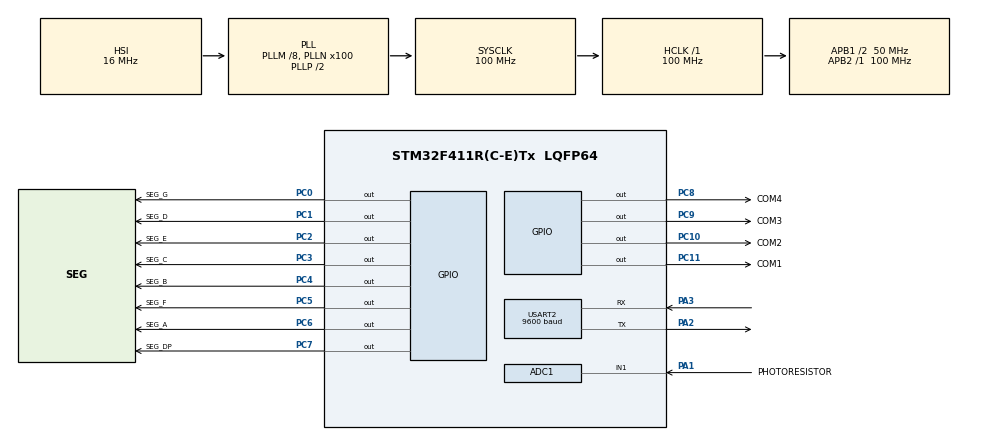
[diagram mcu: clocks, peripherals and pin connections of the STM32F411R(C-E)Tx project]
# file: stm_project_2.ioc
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ADC1.Channel-0\#ChannelRegularConversion=ADC_CHANNEL_1
ADC1.ContinuousConvMode=ENABLE
ADC1.NbrOfConversionFlag=1
ADC1.Rank-0\#ChannelRegularConversion=1
ADC1.SamplingTime-0\#ChannelRegularConversion=ADC_SAMPLETIME_3CYCLES
ADC1.master=1
Dma.Request0=USART2_TX
Dma.Request1=USART2_RX
Dma.USART2_RX.1.Direction=DMA_PERIPH_TO_MEMORY
Dma.USART2_RX.1.FIFOMode=DMA_FIFOMODE_DISABLE
Dma.USART2_RX.1.Instance=DMA1_Stream5
Dma.USART2_RX.1.MemDataAlignment=DMA_MDATAALIGN_BYTE
Dma.USART2_RX.1.MemInc=DMA_MINC_ENABLE
Dma.USART2_RX.1.Mode=DMA_NORMAL
Dma.USART2_RX.1.PeriphDataAlignment=DMA_PDATAALIGN_BYTE
Dma.USART2_RX.1.PeriphInc=DMA_PINC_DISABLE
Dma.USART2_RX.1.Priority=DMA_PRIORITY_LOW
Dma.USART2_TX.0.Direction=DMA_MEMORY_TO_PERIPH
Dma.USART2_TX.0.FIFOMode=DMA_FIFOMODE_DISABLE
Dma.USART2_TX.0.Instance=DMA1_Stream6
Dma.USART2_TX.0.MemDataAlignment=DMA_MDATAALIGN_BYTE
Dma.USART2_TX.0.MemInc=DMA_MINC_ENABLE
Dma.USART2_TX.0.Mode=DMA_NORMAL
Dma.USART2_TX.0.PeriphDataAlignment=DMA_PDATAALIGN_BYTE
Dma.USART2_TX.0.PeriphInc=DMA_PINC_DISABLE
Dma.USART2_TX.0.Priority=DMA_PRIORITY_LOW
Mcu.Family=STM32F4
Mcu.Name=STM32F411R(C-E)Tx
Mcu.Package=LQFP64
NVIC.ADC_IRQn=true\:0\:0\:false\:false\:true\:true\:true
NVIC.DMA1_Stream5_IRQn=true\:0\:0\:false\:false\:true\:false\:true
NVIC.DMA1_Stream6_IRQn=true\:0\:0\:false\:false\:true\:false\:true
NVIC.PriorityGroup=NVIC_PRIORITYGROUP_4
NVIC.TIM1_BRK_TIM9_IRQn=true\:0\:0\:false\:false\:true\:true\:true
NVIC.USART2_IRQn=true\:0\:0\:false\:false\:true\:true\:true
PA1.GPIO_Label=PHOTORESISTOR
PA1.Signal=ADCx_IN1
PA2.Mode=Asynchronous
PA2.Signal=USART2_TX
PA3.Mode=Asynchronous
PA3.Signal=USART2_RX
PC0.GPIO_Label=SEG_G
PC0.Signal=GPIO_Output
PC1.GPIO_Label=SEG_D
PC1.Signal=GPIO_Output
PC10.GPIO_Label=COM2
PC10.PinState=GPIO_PIN_SET
PC10.Signal=GPIO_Output
PC11.GPIO_Label=COM1
PC11.PinState=GPIO_PIN_SET
PC11.Signal=GPIO_Output
PC2.GPIO_Label=SEG_E
PC2.Signal=GPIO_Output
PC3.GPIO_Label=SEG_C
PC3.Signal=GPIO_Output
PC4.GPIO_Label=SEG_B
PC4.Signal=GPIO_Output
PC5.GPIO_Label=SEG_F
PC5.Signal=GPIO_Output
PC6.GPIO_Label=SEG_A
PC6.Signal=GPIO_Output
PC7.GPIO_Label=SEG_DP
PC7.Signal=GPIO_Output
PC8.GPIO_Label=COM4
PC8.PinState=GPIO_PIN_SET
PC8.Signal=GPIO_Output
PC9.GPIO_Label=COM3
PC9.PinState=GPIO_PIN_SET
PC9.Signal=GPIO_Output
ProjectManager.HeapSize=0x200
ProjectManager.StackSize=0x400
ProjectManager.TargetToolchain=STM32CubeIDE
RCC.48MHZClocksFreq_Value=50000000
RCC.AHBFreq_Value=100000000
RCC.APB1CLKDivider=RCC_HCLK_DIV2
RCC.APB1Freq_Value=50000000
RCC.APB1TimFreq_Value=100000000
RCC.APB2Freq_Value=100000000
RCC.APB2TimFreq_Value=100000000
RCC.CortexFreq_Value=100000000
RCC.HCLKFreq_Value=100000000
RCC.HSE_VALUE=25000000
RCC.HSI_VALUE=16000000
RCC.LSE_VALUE=32768
RCC.PLLM=8
RCC.PLLN=100
RCC.SYSCLKFreq_VALUE=100000000
RCC.SYSCLKSource=RCC_SYSCLKSOURCE_PLLCLK
RCC.VCOOutputFreq_Value=200000000
SH.ADCx_IN1.0=ADC1_IN1,IN1
TIM9.Period=1000
TIM9.Prescaler=500
USART2.BaudRate=9600
USART2.OverSampling=UART_OVERSAMPLING_8
USART2.VirtualMode=VM_ASYNC
VP_TIM9_VS_ClockSourceINT.Mode=Internal
board=custom

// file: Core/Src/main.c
/* USER CODE BEGIN Header */
/**
  ******************************************************************************
  * @file           : main.c
  * @brief          : Main program body
  ******************************************************************************
  * @attention
  *
  * <h2><center>&copy; Copyright (c) 2021 STMicroelectronics.
  * All rights reserved.</center></h2>
  *
  * This software component is licensed by ST under BSD 3-Clause license,
  * the "License"; You may not use this file except in compliance with the
  * License. You may obtain a copy of the License at:
  *                        opensource.org/licenses/BSD-3-Clause
  *
  ******************************************************************************
  */
/* USER CODE END Header */
#include "main.h"

ADC_HandleTypeDef hadc1;

TIM_HandleTypeDef htim9;

UART_HandleTypeDef huart2;
DMA_HandleTypeDef hdma_usart2_tx;
DMA_HandleTypeDef hdma_usart2_rx;

void SystemClock_Config(void);
static void MX_GPIO_Init(void);
static void MX_TIM9_Init(void);
static void MX_DMA_Init(void);
static void MX_USART2_UART_Init(void);
static void MX_ADC1_Init(void);
/* USER CODE BEGIN PFP */
#include "string.h"
unsigned int time = 200;
unsigned int com = 1;
unsigned int adc_value = 0;
char uart_TX[10];

void set_digit(int digit);
void set_number(int digit1, int digit2, int digit3, int digit4);
int photoresistor_calc(float cur_val, float min_val, float max_val);

void HAL_ADC_ConvCpltCallback(ADC_HandleTypeDef* hadc) {
	if (hadc->Instance == ADC1){
//		OBSLUGA Z EPSILONEM
		unsigned int adc_value_new = HAL_ADC_GetValue(&hadc1);
		int epsilon = 10;
		int difference = adc_value_new - adc_value;
		if (abs(difference) > epsilon) {
			adc_value = adc_value_new;
		}

//		OBSLUGA BEZ EPSILONA
//		adc_value = HAL_ADC_GetValue(&hadc1);;
	}
}

void HAL_TIM_PeriodElapsedCallback (TIM_HandleTypeDef *htim ) {
 if (htim->Instance == TIM9)
 {
//	 WYSWIETLANIE WARTOSCI FOTOREZYSTORA
//	 HAL_ADC_Start_IT(&hadc1);
//	 set_number(adc_value/1000%10, adc_value/100%10, adc_value/10%10, adc_value%10);

//	 WYSWIETLANIE WARTOSCI FOTOREZYSTORA Z USUWANIEM ZER PRZODUJACYCH
	 HAL_ADC_Start_IT(&hadc1);
	 int percent = photoresistor_calc((float)adc_value, 100, 4000);		// WARTOSCI RZECZYWISTE (Z POMIARU)
//	 int percent = photoresistor_calc((float)adc_value, 700, 3000);		// WARTOSCI TESTOWE
	 unsigned short int digit1 = percent/100%10;
	 unsigned short int digit2 = percent/10%10;
	 unsigned short int digit3 = percent%10;
	 if (percent < 100) digit1 = 10;
	 if (percent < 10) digit2 = 10;
	 set_number(10, digit1, digit2, digit3);

//	 WYSYLANIE WARTOSCI PRZEZ UART CO 1 SEKUNDE
	 if(time == 200){
		 int size = sprintf(uart_TX, "%d\r\n", percent);
		 HAL_UART_Transmit_DMA(&huart2, uart_TX, size);
		 time = 0;
	 }
	 else time++;
 }
}

/* USER CODE END PFP */

int main(void)
{

  /* MCU Configuration--------------------------------------------------------*/

  /* Reset of all peripherals, Initializes the Flash interface and the Systick. */
  HAL_Init();

  /* Configure the system clock */
  SystemClock_Config();

  /* Initialize all configured peripherals */
  MX_GPIO_Init();
  MX_TIM9_Init();
  MX_DMA_Init();
  MX_USART2_UART_Init();
  MX_ADC1_Init();
  /* USER CODE BEGIN 2 */
  HAL_GPIO_WritePin(COM1_GPIO_Port,COM1_Pin,GPIO_PIN_SET);
  HAL_GPIO_WritePin(COM2_GPIO_Port,COM1_Pin,GPIO_PIN_SET);
  HAL_GPIO_WritePin(COM3_GPIO_Port,COM1_Pin,GPIO_PIN_SET);
  HAL_GPIO_WritePin(COM4_GPIO_Port,COM1_Pin,GPIO_PIN_SET);
  HAL_TIM_Base_Start_IT(&htim9);
  /* USER CODE END 2 */

  /* Infinite loop */
  while (1)
  {

  }
}

void SystemClock_Config(void)
{
  RCC_OscInitTypeDef RCC_OscInitStruct = {0};
  RCC_ClkInitTypeDef RCC_ClkInitStruct = {0};

  /** Configure the main internal regulator output voltage
  */
  __HAL_RCC_PWR_CLK_ENABLE();
  __HAL_PWR_VOLTAGESCALING_CONFIG(PWR_REGULATOR_VOLTAGE_SCALE1);
  /** Initializes the RCC Oscillators according to the specified parameters
  * in the RCC_OscInitTypeDef structure.
  */
  RCC_OscInitStruct.OscillatorType = RCC_OSCILLATORTYPE_HSI;
  RCC_OscInitStruct.HSIState = RCC_HSI_ON;
  RCC_OscInitStruct.HSICalibrationValue = RCC_HSICALIBRATION_DEFAULT;
  RCC_OscInitStruct.PLL.PLLState = RCC_PLL_ON;
  RCC_OscInitStruct.PLL.PLLSource = RCC_PLLSOURCE_HSI;
  RCC_OscInitStruct.PLL.PLLM = 8;
  RCC_OscInitStruct.PLL.PLLN = 100;
  RCC_OscInitStruct.PLL.PLLP = RCC_PLLP_DIV2;
  RCC_OscInitStruct.PLL.PLLQ = 4;
  if (HAL_RCC_OscConfig(&RCC_OscInitStruct) != HAL_OK)
  {
    Error_Handler();
  }
  /** Initializes the CPU, AHB and APB buses clocks
  */
  RCC_ClkInitStruct.ClockType = RCC_CLOCKTYPE_HCLK|RCC_CLOCKTYPE_SYSCLK
                              |RCC_CLOCKTYPE_PCLK1|RCC_CLOCKTYPE_PCLK2;
  RCC_ClkInitStruct.SYSCLKSource = RCC_SYSCLKSOURCE_PLLCLK;
  RCC_ClkInitStruct.AHBCLKDivider = RCC_SYSCLK_DIV1;
  RCC_ClkInitStruct.APB1CLKDivider = RCC_HCLK_DIV2;
  RCC_ClkInitStruct.APB2CLKDivider = RCC_HCLK_DIV1;

  if (HAL_RCC_ClockConfig(&RCC_ClkInitStruct, FLASH_LATENCY_3) != HAL_OK)
  {
    Error_Handler();
  }
}

static void MX_ADC1_Init(void)
{

  ADC_ChannelConfTypeDef sConfig = {0};

  /** Configure the global features of the ADC (Clock, Resolution, Data Alignment and number of conversion)
  */
  hadc1.Instance = ADC1;
  hadc1.Init.ClockPrescaler = ADC_CLOCK_SYNC_PCLK_DIV4;
  hadc1.Init.Resolution = ADC_RESOLUTION_12B;
  hadc1.Init.ScanConvMode = DISABLE;
  hadc1.Init.ContinuousConvMode = ENABLE;
  hadc1.Init.DiscontinuousConvMode = DISABLE;
  hadc1.Init.ExternalTrigConvEdge = ADC_EXTERNALTRIGCONVEDGE_NONE;
  hadc1.Init.ExternalTrigConv = ADC_SOFTWARE_START;
  hadc1.Init.DataAlign = ADC_DATAALIGN_RIGHT;
  hadc1.Init.NbrOfConversion = 1;
  hadc1.Init.DMAContinuousRequests = DISABLE;
  hadc1.Init.EOCSelection = ADC_EOC_SINGLE_CONV;
  if (HAL_ADC_Init(&hadc1) != HAL_OK)
  {
    Error_Handler();
  }
  /** Configure for the selected ADC regular channel its corresponding rank in the sequencer and its sample time.
  */
  sConfig.Channel = ADC_CHANNEL_1;
  sConfig.Rank = 1;
  sConfig.SamplingTime = ADC_SAMPLETIME_3CYCLES;
  if (HAL_ADC_ConfigChannel(&hadc1, &sConfig) != HAL_OK)
  {
    Error_Handler();
  }

}

static void MX_TIM9_Init(void)
{

  TIM_ClockConfigTypeDef sClockSourceConfig = {0};

  htim9.Instance = TIM9;
  htim9.Init.Prescaler = 500;
  htim9.Init.CounterMode = TIM_COUNTERMODE_UP;
  htim9.Init.Period = 1000;
  htim9.Init.ClockDivision = TIM_CLOCKDIVISION_DIV1;
  htim9.Init.AutoReloadPreload = TIM_AUTORELOAD_PRELOAD_DISABLE;
  if (HAL_TIM_Base_Init(&htim9) != HAL_OK)
  {
    Error_Handler();
  }
  sClockSourceConfig.ClockSource = TIM_CLOCKSOURCE_INTERNAL;
  if (HAL_TIM_ConfigClockSource(&htim9, &sClockSourceConfig) != HAL_OK)
  {
    Error_Handler();
  }

}

static void MX_USART2_UART_Init(void)
{

  huart2.Instance = USART2;
  huart2.Init.BaudRate = 9600;
  huart2.Init.WordLength = UART_WORDLENGTH_8B;
  huart2.Init.StopBits = UART_STOPBITS_1;
  huart2.Init.Parity = UART_PARITY_NONE;
  huart2.Init.Mode = UART_MODE_TX_RX;
  huart2.Init.HwFlowCtl = UART_HWCONTROL_NONE;
  huart2.Init.OverSampling = UART_OVERSAMPLING_8;
  if (HAL_UART_Init(&huart2) != HAL_OK)
  {
    Error_Handler();
  }

}

static void MX_DMA_Init(void)
{

  /* DMA controller clock enable */
  __HAL_RCC_DMA1_CLK_ENABLE();

  /* DMA interrupt init */
  /* DMA1_Stream5_IRQn interrupt configuration */
  HAL_NVIC_SetPriority(DMA1_Stream5_IRQn, 0, 0);
  HAL_NVIC_EnableIRQ(DMA1_Stream5_IRQn);
  /* DMA1_Stream6_IRQn interrupt configuration */
  HAL_NVIC_SetPriority(DMA1_Stream6_IRQn, 0, 0);
  HAL_NVIC_EnableIRQ(DMA1_Stream6_IRQn);

}

static void MX_GPIO_Init(void)
{
  GPIO_InitTypeDef GPIO_InitStruct = {0};

  /* GPIO Ports Clock Enable */
  __HAL_RCC_GPIOC_CLK_ENABLE();
  __HAL_RCC_GPIOA_CLK_ENABLE();

  /*Configure GPIO pin Output Level */
  HAL_GPIO_WritePin(GPIOC, SEG_G_Pin|SEG_D_Pin|SEG_E_Pin|SEG_C_Pin
                          |SEG_B_Pin|SEG_F_Pin|SEG_A_Pin|SEG_DP_Pin, GPIO_PIN_RESET);

  /*Configure GPIO pin Output Level */
  HAL_GPIO_WritePin(GPIOC, COM4_Pin|COM3_Pin|COM2_Pin|COM1_Pin, GPIO_PIN_SET);

  /*Configure GPIO pins : SEG_G_Pin SEG_D_Pin SEG_E_Pin SEG_C_Pin
                           SEG_B_Pin SEG_F_Pin SEG_A_Pin SEG_DP_Pin
                           COM4_Pin COM3_Pin COM2_Pin COM1_Pin */
  GPIO_InitStruct.Pin = SEG_G_Pin|SEG_D_Pin|SEG_E_Pin|SEG_C_Pin
                          |SEG_B_Pin|SEG_F_Pin|SEG_A_Pin|SEG_DP_Pin
                          |COM4_Pin|COM3_Pin|COM2_Pin|COM1_Pin;
  GPIO_InitStruct.Mode = GPIO_MODE_OUTPUT_PP;
  GPIO_InitStruct.Pull = GPIO_NOPULL;
  GPIO_InitStruct.Speed = GPIO_SPEED_FREQ_LOW;
  HAL_GPIO_Init(GPIOC, &GPIO_InitStruct);

}

/* USER CODE BEGIN 4 */

void set_digit(int digit) {
	// Jesli podana "cyfra" nie jest cyfra to znaczy to, ze znak powinien być pusty
	switch (digit)
	{
		case 0:
		HAL_GPIO_WritePin(SEG_A_GPIO_Port, SEG_A_Pin, GPIO_PIN_SET);
		HAL_GPIO_WritePin(SEG_B_GPIO_Port, SEG_B_Pin, GPIO_PIN_SET);
		HAL_GPIO_WritePin(SEG_C_GPIO_Port, SEG_C_Pin, GPIO_PIN_SET);
		HAL_GPIO_WritePin(SEG_D_GPIO_Port, SEG_D_Pin, GPIO_PIN_SET);
		HAL_GPIO_WritePin(SEG_E_GPIO_Port, SEG_E_Pin, GPIO_PIN_SET);
		HAL_GPIO_WritePin(SEG_F_GPIO_Port, SEG_F_Pin, GPIO_PIN_SET);
		HAL_GPIO_WritePin(SEG_G_GPIO_Port, SEG_G_Pin, GPIO_PIN_RESET);
		HAL_GPIO_WritePin(SEG_DP_GPIO_Port, SEG_DP_Pin, GPIO_PIN_RESET);
		break;

		case 1:
		HAL_GPIO_WritePin(SEG_A_GPIO_Port, SEG_A_Pin, GPIO_PIN_RESET);
		HAL_GPIO_WritePin(SEG_B_GPIO_Port, SEG_B_Pin, GPIO_PIN_SET);
		HAL_GPIO_WritePin(SEG_C_GPIO_Port, SEG_C_Pin, GPIO_PIN_SET);
		HAL_GPIO_WritePin(SEG_D_GPIO_Port, SEG_D_Pin, GPIO_PIN_RESET);
		HAL_GPIO_WritePin(SEG_E_GPIO_Port, SEG_E_Pin, GPIO_PIN_RESET);
		HAL_GPIO_WritePin(SEG_F_GPIO_Port, SEG_F_Pin, GPIO_PIN_RESET);
		HAL_GPIO_WritePin(SEG_G_GPIO_Port, SEG_G_Pin, GPIO_PIN_RESET);
		HAL_GPIO_WritePin(SEG_DP_GPIO_Port, SEG_DP_Pin, GPIO_PIN_RESET);
		break;

		case 2:
		HAL_GPIO_WritePin(SEG_A_GPIO_Port, SEG_A_Pin, GPIO_PIN_SET);
		HAL_GPIO_WritePin(SEG_B_GPIO_Port, SEG_B_Pin, GPIO_PIN_SET);
		HAL_GPIO_WritePin(SEG_C_GPIO_Port, SEG_C_Pin, GPIO_PIN_RESET);
		HAL_GPIO_WritePin(SEG_D_GPIO_Port, SEG_D_Pin, GPIO_PIN_SET);
		HAL_GPIO_WritePin(SEG_E_GPIO_Port, SEG_E_Pin, GPIO_PIN_SET);
		HAL_GPIO_WritePin(SEG_F_GPIO_Port, SEG_F_Pin, GPIO_PIN_RESET);
		HAL_GPIO_WritePin(SEG_G_GPIO_Port, SEG_G_Pin, GPIO_PIN_SET);
		HAL_GPIO_WritePin(SEG_DP_GPIO_Port, SEG_DP_Pin, GPIO_PIN_RESET);
		break;

		case 3:
		HAL_GPIO_WritePin(SEG_A_GPIO_Port, SEG_A_Pin, GPIO_PIN_SET);
		HAL_GPIO_WritePin(SEG_B_GPIO_Port, SEG_B_Pin, GPIO_PIN_SET);
		HAL_GPIO_WritePin(SEG_C_GPIO_Port, SEG_C_Pin, GPIO_PIN_SET);
		HAL_GPIO_WritePin(SEG_D_GPIO_Port, SEG_D_Pin, GPIO_PIN_SET);
		HAL_GPIO_WritePin(SEG_E_GPIO_Port, SEG_E_Pin, GPIO_PIN_RESET);
		HAL_GPIO_WritePin(SEG_F_GPIO_Port, SEG_F_Pin, GPIO_PIN_RESET);
		HAL_GPIO_WritePin(SEG_G_GPIO_Port, SEG_G_Pin, GPIO_PIN_SET);
		HAL_GPIO_WritePin(SEG_DP_GPIO_Port, SEG_DP_Pin, GPIO_PIN_RESET);
		break;

		case 4:
		HAL_GPIO_WritePin(SEG_A_GPIO_Port, SEG_A_Pin, GPIO_PIN_RESET);
		HAL_GPIO_WritePin(SEG_B_GPIO_Port, SEG_B_Pin, GPIO_PIN_SET);
		HAL_GPIO_WritePin(SEG_C_GPIO_Port, SEG_C_Pin, GPIO_PIN_SET);
		HAL_GPIO_WritePin(SEG_D_GPIO_Port, SEG_D_Pin, GPIO_PIN_RESET);
		HAL_GPIO_WritePin(SEG_E_GPIO_Port, SEG_E_Pin, GPIO_PIN_RESET);
		HAL_GPIO_WritePin(SEG_F_GPIO_Port, SEG_F_Pin, GPIO_PIN_SET);
		HAL_GPIO_WritePin(SEG_G_GPIO_Port, SEG_G_Pin, GPIO_PIN_SET);
		HAL_GPIO_WritePin(SEG_DP_GPIO_Port, SEG_DP_Pin, GPIO_PIN_RESET);
		break;

		case 5:
		HAL_GPIO_WritePin(SEG_A_GPIO_Port, SEG_A_Pin, GPIO_PIN_SET);
		HAL_GPIO_WritePin(SEG_B_GPIO_Port, SEG_B_Pin, GPIO_PIN_RESET);
		HAL_GPIO_WritePin(SEG_C_GPIO_Port, SEG_C_Pin, GPIO_PIN_SET);
		HAL_GPIO_WritePin(SEG_D_GPIO_Port, SEG_D_Pin, GPIO_PIN_SET);
		HAL_GPIO_WritePin(SEG_E_GPIO_Port, SEG_E_Pin, GPIO_PIN_RESET);
		HAL_GPIO_WritePin(SEG_F_GPIO_Port, SEG_F_Pin, GPIO_PIN_SET);
		HAL_GPIO_WritePin(SEG_G_GPIO_Port, SEG_G_Pin, GPIO_PIN_SET);
		HAL_GPIO_WritePin(SEG_DP_GPIO_Port, SEG_DP_Pin, GPIO_PIN_RESET);
		break;

		case 6:
		HAL_GPIO_WritePin(SEG_A_GPIO_Port, SEG_A_Pin, GPIO_PIN_SET);
		HAL_GPIO_WritePin(SEG_B_GPIO_Port, SEG_B_Pin, GPIO_PIN_RESET);
		HAL_GPIO_WritePin(SEG_C_GPIO_Port, SEG_C_Pin, GPIO_PIN_SET);
		HAL_GPIO_WritePin(SEG_D_GPIO_Port, SEG_D_Pin, GPIO_PIN_SET);
		HAL_GPIO_WritePin(SEG_E_GPIO_Port, SEG_E_Pin, GPIO_PIN_SET);
		HAL_GPIO_WritePin(SEG_F_GPIO_Port, SEG_F_Pin, GPIO_PIN_SET);
		HAL_GPIO_WritePin(SEG_G_GPIO_Port, SEG_G_Pin, GPIO_PIN_SET);
		HAL_GPIO_WritePin(SEG_DP_GPIO_Port, SEG_DP_Pin, GPIO_PIN_RESET);
		break;

		case 7:
		HAL_GPIO_WritePin(SEG_A_GPIO_Port, SEG_A_Pin, GPIO_PIN_SET);
		HAL_GPIO_WritePin(SEG_B_GPIO_Port, SEG_B_Pin, GPIO_PIN_SET);
		HAL_GPIO_WritePin(SEG_C_GPIO_Port, SEG_C_Pin, GPIO_PIN_SET);
		HAL_GPIO_WritePin(SEG_D_GPIO_Port, SEG_D_Pin, GPIO_PIN_RESET);
		HAL_GPIO_WritePin(SEG_E_GPIO_Port, SEG_E_Pin, GPIO_PIN_RESET);
		HAL_GPIO_WritePin(SEG_F_GPIO_Port, SEG_F_Pin, GPIO_PIN_RESET);
		HAL_GPIO_WritePin(SEG_G_GPIO_Port, SEG_G_Pin, GPIO_PIN_RESET);
		HAL_GPIO_WritePin(SEG_DP_GPIO_Port, SEG_DP_Pin, GPIO_PIN_RESET);
		break;

		case 8:
		HAL_GPIO_WritePin(SEG_A_GPIO_Port, SEG_A_Pin, GPIO_PIN_SET);
		HAL_GPIO_WritePin(SEG_B_GPIO_Port, SEG_B_Pin, GPIO_PIN_SET);
		HAL_GPIO_WritePin(SEG_C_GPIO_Port, SEG_C_Pin, GPIO_PIN_SET);
		HAL_GPIO_WritePin(SEG_D_GPIO_Port, SEG_D_Pin, GPIO_PIN_SET);
		HAL_GPIO_WritePin(SEG_E_GPIO_Port, SEG_E_Pin, GPIO_PIN_SET);
		HAL_GPIO_WritePin(SEG_F_GPIO_Port, SEG_F_Pin, GPIO_PIN_SET);
		HAL_GPIO_WritePin(SEG_G_GPIO_Port, SEG_G_Pin, GPIO_PIN_SET);
		HAL_GPIO_WritePin(SEG_DP_GPIO_Port, SEG_DP_Pin, GPIO_PIN_RESET);
		break;

		case 9:
		HAL_GPIO_WritePin(SEG_A_GPIO_Port, SEG_A_Pin, GPIO_PIN_SET);
		HAL_GPIO_WritePin(SEG_B_GPIO_Port, SEG_B_Pin, GPIO_PIN_SET);
		HAL_GPIO_WritePin(SEG_C_GPIO_Port, SEG_C_Pin, GPIO_PIN_SET);
		HAL_GPIO_WritePin(SEG_D_GPIO_Port, SEG_D_Pin, GPIO_PIN_SET);
		HAL_GPIO_WritePin(SEG_E_GPIO_Port, SEG_E_Pin, GPIO_PIN_RESET);
		HAL_GPIO_WritePin(SEG_F_GPIO_Port, SEG_F_Pin, GPIO_PIN_SET);
		HAL_GPIO_WritePin(SEG_G_GPIO_Port, SEG_G_Pin, GPIO_PIN_SET);
		HAL_GPIO_WritePin(SEG_DP_GPIO_Port, SEG_DP_Pin, GPIO_PIN_RESET);
		break;

		default:
		HAL_GPIO_WritePin(SEG_A_GPIO_Port, SEG_A_Pin, GPIO_PIN_RESET);
		HAL_GPIO_WritePin(SEG_B_GPIO_Port, SEG_B_Pin, GPIO_PIN_RESET);
		HAL_GPIO_WritePin(SEG_C_GPIO_Port, SEG_C_Pin, GPIO_PIN_RESET);
		HAL_GPIO_WritePin(SEG_D_GPIO_Port, SEG_D_Pin, GPIO_PIN_RESET);
		HAL_GPIO_WritePin(SEG_E_GPIO_Port, SEG_E_Pin, GPIO_PIN_RESET);
		HAL_GPIO_WritePin(SEG_F_GPIO_Port, SEG_F_Pin, GPIO_PIN_RESET);
		HAL_GPIO_WritePin(SEG_G_GPIO_Port, SEG_G_Pin, GPIO_PIN_RESET);
		HAL_GPIO_WritePin(SEG_DP_GPIO_Port, SEG_DP_Pin, GPIO_PIN_RESET);
		break;
	}
}

void set_number(int digit1, int digit2, int digit3, int digit4) {
	switch(com){
		case 1:
		// Wyswietlacz 1
		HAL_GPIO_WritePin(COM4_GPIO_Port,COM4_Pin,GPIO_PIN_SET);
		HAL_GPIO_WritePin(COM1_GPIO_Port,COM1_Pin,GPIO_PIN_RESET);
		set_digit(digit1);
		com = 2;
		break;

		case 2:
		// Wyswietlacz 2
		HAL_GPIO_WritePin(COM1_GPIO_Port,COM1_Pin,GPIO_PIN_SET);
		HAL_GPIO_WritePin(COM2_GPIO_Port,COM2_Pin,GPIO_PIN_RESET);
		set_digit(digit2);
		com = 3;
		break;

		case 3:
		// Wyswietlacz 3
		HAL_GPIO_WritePin(COM2_GPIO_Port,COM2_Pin,GPIO_PIN_SET);
		HAL_GPIO_WritePin(COM3_GPIO_Port,COM3_Pin,GPIO_PIN_RESET);
		set_digit(digit3);
		com = 4;
		break;

		case 4:
		// Wyswietlacz 4
		HAL_GPIO_WritePin(COM3_GPIO_Port,COM3_Pin,GPIO_PIN_SET);
		HAL_GPIO_WritePin(COM4_GPIO_Port,COM4_Pin,GPIO_PIN_RESET);
		set_digit(digit4);
		com = 1;
		break;
}
}

int photoresistor_calc(float cur_val, float min_val, float max_val)
{
	if (min_val == max_val)
	{
		min_val = 50;
		max_val = 4050;
	}
	float temp = 1 / (min_val - max_val);
	float percent = 100 * (cur_val * temp - max_val * temp);
	if (percent > 100) percent = 100;
	else if (percent < 0) percent = 0;
	return (int)percent;
}

/* USER CODE END 4 */

void Error_Handler(void)
{
  __disable_irq();
  while (1)
  {
  }
}

/************************ (C) COPYRIGHT STMicroelectronics *****END OF FILE****/
